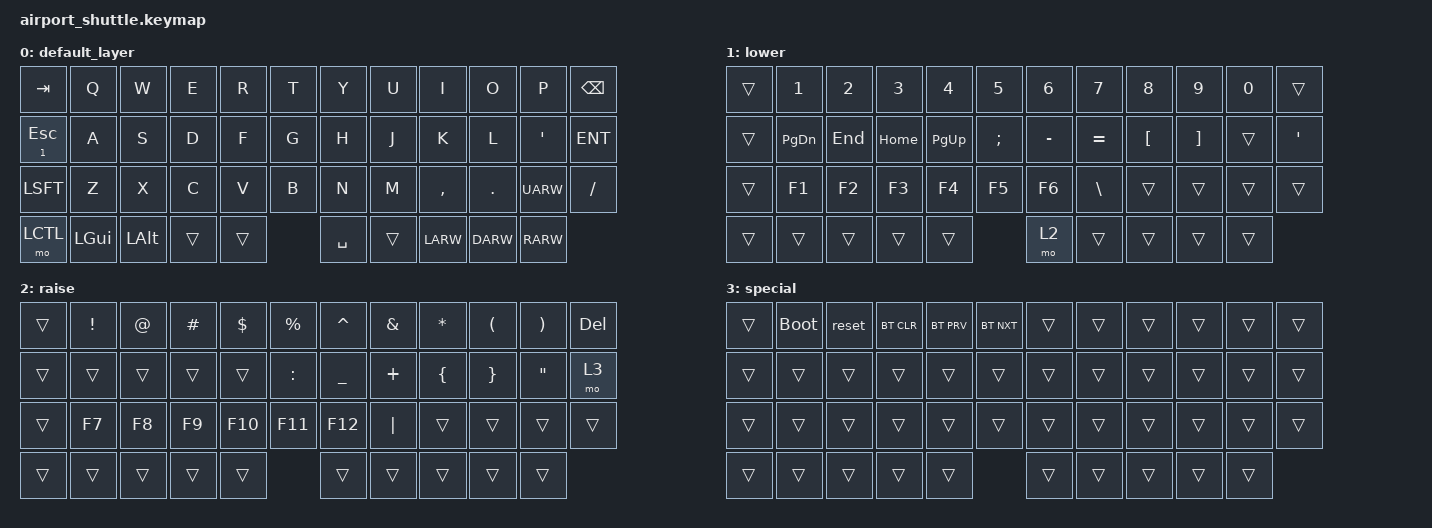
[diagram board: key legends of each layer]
#include <behaviors.dtsi>
#include <dt-bindings/zmk/keys.h>
#include <dt-bindings/zmk/bt.h>

#define DEFAULT 0
#define LOWER   1
#define RAISE   2
#define SPECIAL 3

/ {
  keymap {
    compatible = "zmk,keymap";

    default_layer {
      bindings = <
  &kp TAB      &kp Q    &kp W &kp E &kp R &kp T  &kp Y   &kp U  &kp I    &kp O   &kp P    &kp BKSP
  &mt 1 ESC &kp A    &kp S &kp D &kp F &kp G  &kp H   &kp J  &kp K    &kp L   &kp QUOT &kp ENT
  &kp LSFT     &kp Z    &kp X &kp C &kp V &kp B  &kp N   &kp M  &kp CMMA &kp DOT &kp UARW &kp FSLH
  &mo LCTL     &kp LGUI &kp LALT &trans &trans &kp SPC &trans &kp LARW &kp DARW &kp RARW
      >;
    };

    lower {
      bindings = <
      &trans &kp NUM_1 &kp NUM_2 &kp NUM_3 &kp NUM_4 &kp NUM_5 &kp NUM_6 &kp NUM_7 &kp NUM_8 &kp NUM_9 &kp NUM_0 &trans
      &trans &kp PG_DN &kp END &kp HOME &kp PG_UP &kp SEMI &kp MINUS &kp EQUAL &kp LBKT &kp RBKT &trans &kp QUOT
      &trans &kp F1 &kp F2 &kp F3 &kp F4 &kp F5 &kp F6 &kp BSLH &trans &trans &trans &trans
      &trans &trans &trans &trans &trans &mo 2  &trans &trans &trans  &trans
      >;
    };

    raise {
      bindings = <
      &trans &kp EXCL &kp AT &kp HASH &kp DLLR &kp PRCNT &kp CARET &kp AMPS &kp STAR &kp LPAR &kp RPAR &kp DEL
      &trans &trans &trans &trans &trans &kp COLON &kp UNDER &kp PLUS &kp LBRC &kp RBRC &kp DQT &mo 3
      &trans &kp F7 &kp F8 &kp F9 &kp F10 &kp F11 &kp F12 &kp PIPE &trans &trans &trans &trans
      &trans &trans &trans &trans &trans &trans &trans &trans &trans &trans
      >;
    };

    special {
      bindings = <
      &trans &bootloader &reset &bt BT_CLR &bt BT_PRV &bt BT_NXT &trans &trans &trans &trans &trans &trans
      &trans &trans &trans &trans &trans &trans &trans &trans &trans &trans &trans &trans
      &trans &trans &trans &trans &trans &trans &trans &trans &trans &trans &trans &trans
      &trans &trans &trans &trans &trans &trans &trans &trans &trans &trans
      >;
    };
  };
};
